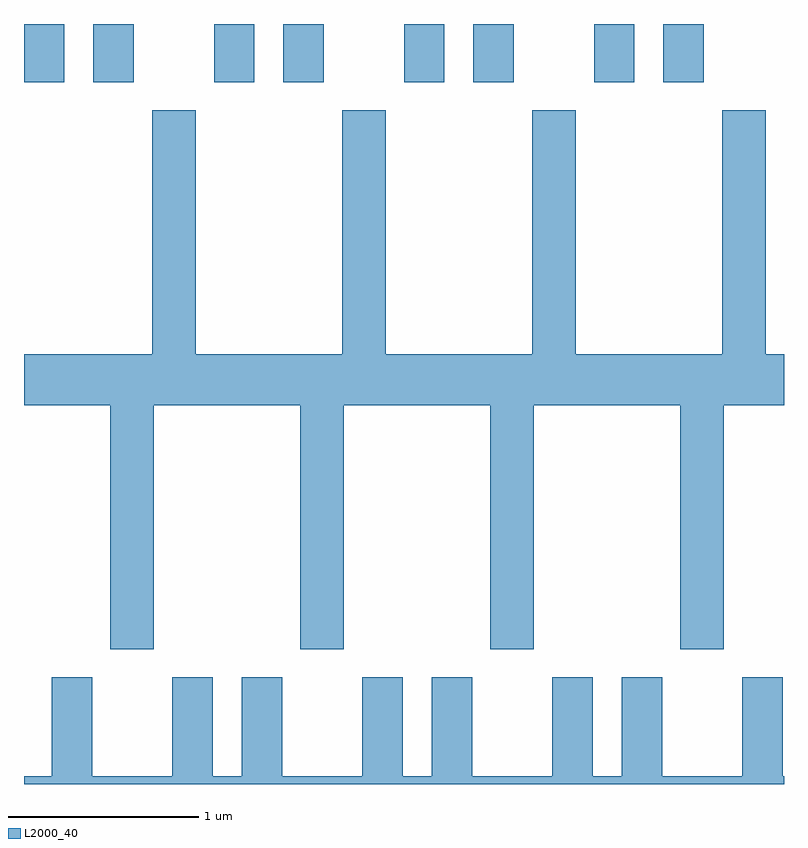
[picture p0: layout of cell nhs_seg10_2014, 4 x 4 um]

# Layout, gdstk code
import gdstk
lib = gdstk.Library(unit=1e-6, precision=1e-09)
def R(c, l, rs):  # rectangles x0, y0, x1, y1
    for r in rs: c.add(gdstk.rectangle(r[:2], r[2:], *l))
def P(c, l, *ps):  # polygons
    for p in ps: c.add(gdstk.Polygon(p, *l))
L2000_40 = (2000, 40)

nhs_seg10_2014 = lib.new_cell('nhs_seg10_2014')
R(nhs_seg10_2014, L2000_40, [(243.611,2182.216,243.824,2182.522), (243.976,2182.216,244.189,2182.522), (244.611,2182.216,244.824,2182.522), (244.976,2182.216,245.189,2182.522), (245.611,2182.216,245.824,2182.522), (245.976,2182.216,246.189,2182.522), (246.611,2182.216,246.824,2182.522), (246.976,2182.216,247.189,2182.522)])
P(nhs_seg10_2014, L2000_40, [(244.294,2180.516),(245.066,2180.516),(245.066,2179.231),(245.294,2179.231),(245.294,2180.516),(246.066,2180.516),(246.066,2179.231),(246.294,2179.231),(246.294,2180.516),(247.066,2180.516),(247.066,2179.231),(247.294,2179.231),(247.294,2180.516),(247.611,2180.516),(247.611,2180.784),(247.514,2180.784),(247.514,2182.069),(247.286,2182.069),(247.286,2180.784),(246.514,2180.784),(246.514,2182.069),(246.286,2182.069),(246.286,2180.784),(245.514,2180.784),(245.514,2182.069),(245.286,2182.069),(245.286,2180.784),(244.514,2180.784),(244.514,2182.069),(244.286,2182.069),(244.286,2180.784),(243.611,2180.784),(243.611,2180.516),(244.066,2180.516),(244.066,2179.231),(244.294,2179.231)],
  [(247.611,2178.564),(247.604,2178.564),(247.604,2179.084),(247.391,2179.084),(247.391,2178.564),(246.969,2178.564),(246.969,2179.084),(246.756,2179.084),(246.756,2178.564),(246.604,2178.564),(246.604,2179.084),(246.391,2179.084),(246.391,2178.564),(245.969,2178.564),(245.969,2179.084),(245.756,2179.084),(245.756,2178.564),(245.604,2178.564),(245.604,2179.084),(245.391,2179.084),(245.391,2178.564),(244.969,2178.564),(244.969,2179.084),(244.756,2179.084),(244.756,2178.564),(244.604,2178.564),(244.604,2179.084),(244.391,2179.084),(244.391,2178.564),(243.969,2178.564),(243.969,2179.084),(243.756,2179.084),(243.756,2178.564),(243.611,2178.564),(243.611,2178.522),(247.611,2178.522)])

lib.write_gds('nhs_seg10_2014.gds')
